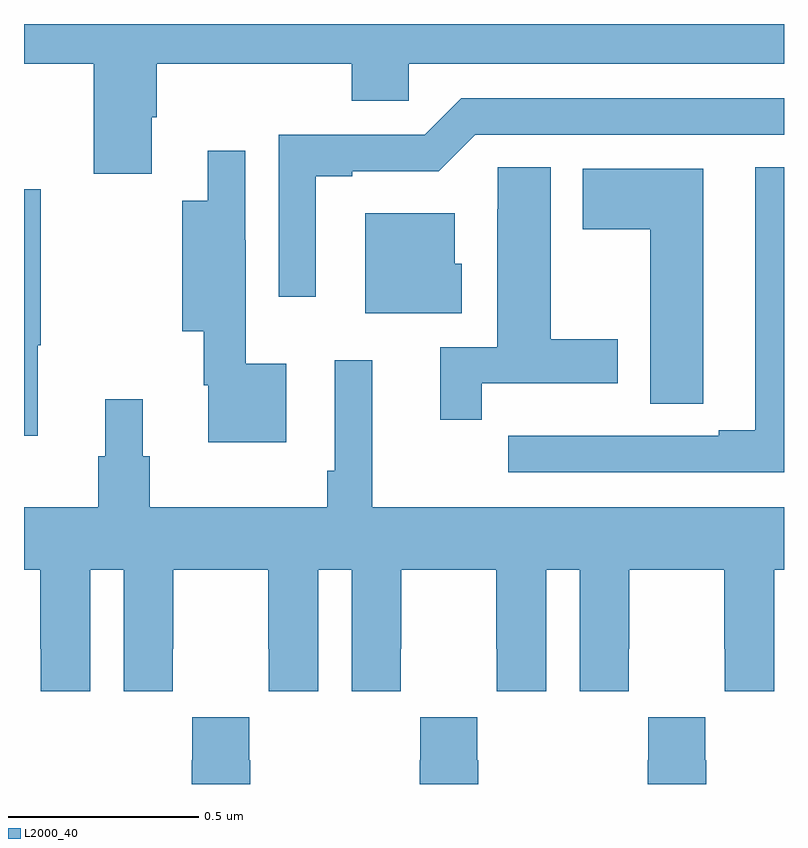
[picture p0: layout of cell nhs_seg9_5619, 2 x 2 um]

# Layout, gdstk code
import gdstk
lib = gdstk.Library(unit=1e-6, precision=1e-09)
def P(c, l, *ps):  # polygons
    for p in ps: c.add(gdstk.Polygon(p, *l))
L2000_40 = (2000, 40)

nhs_seg9_5619 = lib.new_cell('nhs_seg9_5619')
P(nhs_seg9_5619, L2000_40, [(181.336,1220.254),(181.349,1220.254),(181.349,1220.396),(181.862,1220.396),(181.862,1220.298),(182.013,1220.298),(182.013,1220.396),(183,1220.396),(183,1220.5),(181,1220.5),(181,1220.396),(181.184,1220.396),(181.184,1220.106),(181.336,1220.106)],
  [(181.768,1220.1),(181.864,1220.1),(181.864,1220.112),(182.091,1220.112),(182.187,1220.208),(183,1220.208),(183,1220.304),(182.151,1220.304),(182.055,1220.208),(181.671,1220.208),(181.671,1219.782),(181.768,1219.782)],
  [(181.69,1219.606),(181.584,1219.606),(181.584,1219.931),(181.582,1219.931),(181.582,1220.167),(181.484,1220.167),(181.484,1220.035),(181.417,1220.035),(181.417,1219.691),(181.473,1219.691),(181.473,1219.55),(181.485,1219.55),(181.485,1219.4),(181.69,1219.4)],
  [(183,1220.123),(182.924,1220.123),(182.924,1219.431),(182.828,1219.431),(182.828,1219.416),(182.552,1219.416),(182.552,1219.417),(182.386,1219.417),(182.386,1219.416),(182.274,1219.416),(182.274,1219.32),(183,1219.32)],
  [(182.204,1219.554),(182.563,1219.554),(182.563,1219.671),(182.386,1219.671),(182.386,1220.123),(182.247,1220.123),(182.247,1220.012),(182.246,1220.012),(182.246,1219.65),(182.096,1219.65),(182.096,1219.458),(182.204,1219.458)],
  [(182.787,1219.609),(182.788,1219.609),(182.788,1220.119),(182.471,1220.119),(182.471,1219.96),(182.648,1219.96),(182.648,1219.501),(182.787,1219.501)],
  [(181.036,1219.655),(181.044,1219.655),(181.044,1220.065),(181,1220.065),(181,1219.416),(181.036,1219.416)],
  [(182.152,1219.869),(182.134,1219.869),(182.134,1220.002),(181.898,1220.002),(181.898,1219.739),(182.152,1219.739)],
  [(181.174,1219.064),(181.262,1219.064),(181.262,1218.744),(181.392,1218.744),(181.392,1218.856),(181.393,1218.856),(181.393,1219.064),(181.643,1219.064),(181.643,1218.856),(181.644,1218.856),(181.644,1218.744),(181.774,1218.744),(181.774,1219.064),(181.862,1219.064),(181.862,1218.744),(181.992,1218.744),(181.992,1218.856),(181.993,1218.856),(181.993,1219.064),(182.243,1219.064),(182.243,1218.856),(182.244,1218.856),(182.244,1218.744),(182.374,1218.744),(182.374,1219.064),(182.462,1219.064),(182.462,1218.744),(182.592,1218.744),(182.592,1218.856),(182.593,1218.856),(182.593,1219.064),(182.843,1219.064),(182.843,1218.856),(182.844,1218.856),(182.844,1218.744),(182.974,1218.744),(182.974,1219.064),(183,1219.064),(183,1219.228),(181.916,1219.228),(181.916,1219.615),(181.818,1219.615),(181.818,1219.324),(181.798,1219.324),(181.798,1219.228),(181.331,1219.228),(181.331,1219.362),(181.312,1219.362),(181.312,1219.513),(181.214,1219.513),(181.214,1219.362),(181.195,1219.362),(181.195,1219.228),(181,1219.228),(181,1219.064),(181.043,1219.064),(181.043,1218.856),(181.044,1218.856),(181.044,1218.744),(181.174,1218.744)],
  [(181.596,1218.563),(181.593,1218.563),(181.593,1218.676),(181.443,1218.676),(181.443,1218.563),(181.441,1218.563),(181.441,1218.5),(181.596,1218.5)],
  [(182.196,1218.563),(182.193,1218.563),(182.193,1218.676),(182.043,1218.676),(182.043,1218.563),(182.041,1218.563),(182.041,1218.5),(182.196,1218.5)],
  [(182.796,1218.563),(182.793,1218.563),(182.793,1218.676),(182.643,1218.676),(182.643,1218.563),(182.641,1218.563),(182.641,1218.5),(182.796,1218.5)])

lib.write_gds('nhs_seg9_5619.gds')
